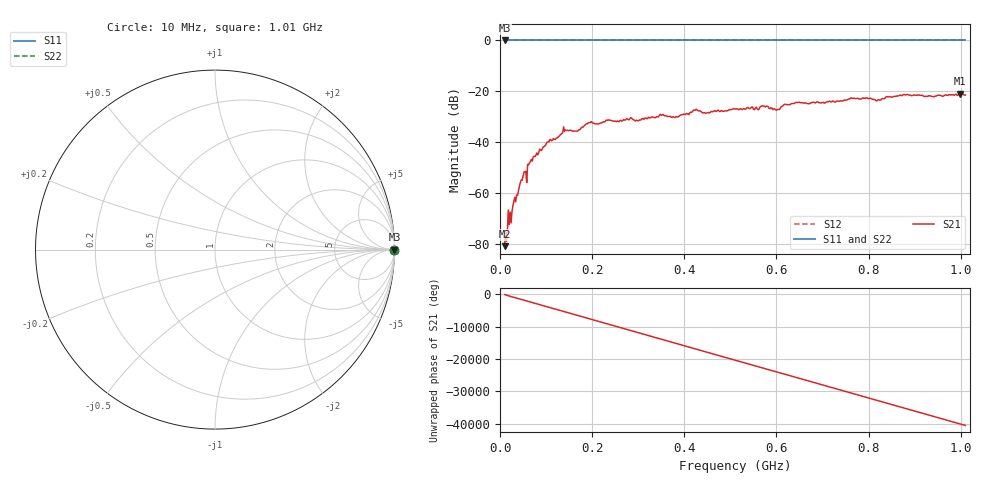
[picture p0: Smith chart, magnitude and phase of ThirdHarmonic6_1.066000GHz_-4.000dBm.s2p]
! 8/16/2025 9:36:19 AM
! C:\ANRITSUVNA\TEMP\TEMP.S2P
! CHANNEL.1
! TR.MEASUREMENT
! RAW.DATA
! RF.CORRECTION.OFF
! AVERAGING.OFF
! IF.BANDWIDTH: 5KHZ
! SWEEPTYPE:  FREQ.SWEEP(Linear)
! Reference Plane Port Info
! PORT:  PORT1  PORT2
! DISTANCE:  0  m  0  m
! TIME:  0  s  0  s
! PHASE.OFFSET:  0  deg.  0  deg.
! LOSS:  0  dB  0  dB
! REF.LOSS:  0  dB  0  dB
! REF.FREQ:  0  Hz  0  Hz
! Power Info
! POWER:  -20  dBm  -20  dBm
! EFF.POWER:  -20  dBm  -20  dBm
! SOURCE.ATTEN:  0  dB  0  dB
! TEST.ATTEN:  0  dB  0  dB
# GHZ S RI R 50.0
! FREQ.GHZ  S11RE  S11IM  S21RE  S21IM  S12RE  S12IM  S22RE  S22IM
!; PortSelection: Port_12
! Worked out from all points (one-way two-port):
!   501 points, 10 MHz to 1.01 GHz, reference 50 ohm
!   highest |S21| = -20.88 dB at 998 MHz (marker M1); lowest = -80.8 dB at 10 MHz (marker M2)
!   lowest |S11| = 0.0 dB at 10 MHz (marker M3)
!   |S11| at or under -10 dB: nowhere
!   |S22| runs from 0.0 to 0.0 dB; largest |S21 - S12| = 1.1
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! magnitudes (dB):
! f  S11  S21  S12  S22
! 10 MHz  0.0  -80.8  0.0  0.0
! 32 MHz  0.0  -61.7  0.0  0.0
! 48 MHz  0.0  -55.0  0.0  0.0
! 60 MHz  0.0  -48.7  0.0  0.0
! 64 MHz  0.0  -48.1  0.0  0.0
! 106 MHz  0.0  -39.9  0.0  0.0
! 138 MHz  0.0  -34.0  0.0  0.0
! 178 MHz  0.0  -34.0  0.0  0.0
! 196 MHz  0.0  -32.3  0.0  0.0
! 344 MHz  0.0  -30.0  0.0  0.0
! 382 MHz  0.0  -29.9  0.0  0.0
! 424 MHz  0.0  -27.3  0.0  0.0
! 450 MHz  0.0  -28.5  0.0  0.0
! 510 MHz  0.0  -26.9  0.0  0.0
! 570 MHz  0.0  -25.7  0.0  0.0
! 602 MHz  0.0  -27.1  0.0  0.0
! 620 MHz  0.0  -25.1  0.0  0.0
! 678 MHz  0.0  -24.4  0.0  0.0
! 820 MHz  0.0  -23.4  0.0  0.0
! 844 MHz  0.0  -22.2  0.0  0.0
! 998 MHz  0.0  -20.9  0.0  0.0
! 1.01 GHz  0.0  -21.5  0.0  0.0
